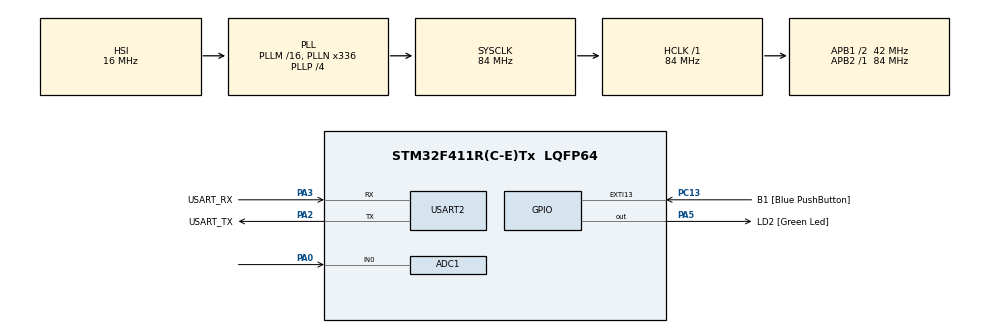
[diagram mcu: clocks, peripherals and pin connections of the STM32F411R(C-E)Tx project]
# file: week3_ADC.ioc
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ADC1.Channel-0\#ChannelRegularConversion=ADC_CHANNEL_TEMPSENSOR
ADC1.NbrOfConversionFlag=1
ADC1.Rank-0\#ChannelRegularConversion=1
ADC1.SamplingTime-0\#ChannelRegularConversion=ADC_SAMPLETIME_3CYCLES
ADC1.master=1
Mcu.Family=STM32F4
Mcu.Name=STM32F411R(C-E)Tx
Mcu.Package=LQFP64
NVIC.PriorityGroup=NVIC_PRIORITYGROUP_0
PA0-WKUP.Signal=ADCx_IN0
PA13.GPIO_Label=TMS
PA13.Mode=Serial_Wire
PA13.Signal=SYS_JTMS-SWDIO
PA14.GPIO_Label=TCK
PA14.Mode=Serial_Wire
PA14.Signal=SYS_JTCK-SWCLK
PA2.GPIO_Label=USART_TX
PA2.Mode=Asynchronous
PA2.Signal=USART2_TX
PA3.GPIO_Label=USART_RX
PA3.Mode=Asynchronous
PA3.Signal=USART2_RX
PA5.GPIO_Label=LD2 [Green Led]
PA5.Signal=GPIO_Output
PB3.GPIO_Label=SWO
PB3.Signal=SYS_JTDO-SWO
PC13-ANTI_TAMP.GPIO_Label=B1 [Blue PushButton]
PC13-ANTI_TAMP.GPIO_ModeDefaultEXTI=GPIO_MODE_IT_FALLING
PC13-ANTI_TAMP.Signal=GPXTI13
PC14-OSC32_IN.Mode=LSE-External-Oscillator
PC14-OSC32_IN.Signal=RCC_OSC32_IN
PC15-OSC32_OUT.Mode=LSE-External-Oscillator
PC15-OSC32_OUT.Signal=RCC_OSC32_OUT
PH0\ -\ OSC_IN.Mode=HSE-External-Clock-Source
PH0\ -\ OSC_IN.Signal=RCC_OSC_IN
PH1\ -\ OSC_OUT.Mode=HSE-External-Clock-Source
PH1\ -\ OSC_OUT.Signal=RCC_OSC_OUT
ProjectManager.HeapSize=0x200
ProjectManager.StackSize=0x400
ProjectManager.TargetToolchain=STM32CubeIDE
RCC.48MHZClocksFreq_Value=84000000
RCC.AHBFreq_Value=84000000
RCC.APB1CLKDivider=RCC_HCLK_DIV2
RCC.APB1Freq_Value=42000000
RCC.APB1TimFreq_Value=84000000
RCC.APB2Freq_Value=84000000
RCC.APB2TimFreq_Value=84000000
RCC.CortexFreq_Value=84000000
RCC.FLatency-AdvancedSettings=FLASH_LATENCY_2
RCC.HCLKFreq_Value=84000000
RCC.HSE_VALUE=8000000
RCC.HSI_VALUE=16000000
RCC.PLLN=336
RCC.PLLP=RCC_PLLP_DIV4
RCC.SYSCLKFreq_VALUE=84000000
RCC.SYSCLKSource=RCC_SYSCLKSOURCE_PLLCLK
RCC.VCOOutputFreq_Value=336000000
SH.ADCx_IN0.0=ADC1_IN0,IN0
USART2.VirtualMode=VM_ASYNC
VP_ADC1_TempSens_Input.Mode=IN-TempSens
board=NUCLEO-F411RE

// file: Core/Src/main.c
/* USER CODE BEGIN Header */
/**
  ******************************************************************************
  * @file           : main.c
  * @brief          : Main program body
  ******************************************************************************
  * @attention
  *
  * <h2><center>&copy; Copyright (c) 2021 STMicroelectronics.
  * All rights reserved.</center></h2>
  *
  * This software component is licensed by ST under BSD 3-Clause license,
  * the "License"; You may not use this file except in compliance with the
  * License. You may obtain a copy of the License at:
  *                        opensource.org/licenses/BSD-3-Clause
  *
  ******************************************************************************
  */
/* USER CODE END Header */
#include "main.h"

ADC_HandleTypeDef hadc1;

UART_HandleTypeDef huart2;

/* USER CODE BEGIN PV */
typedef struct
{
	ADC_ChannelConfTypeDef Config;
	uint32_t Data;

} ADC_struct;

ADC_struct ADC_Channel[2] = {0};
uint8_t ADCMode = 0;
float ADCOutputConverted = 0;
float V25 = 0.76;  //mV/C
float Avg_Slope = 2.5;  //mV/C
/* USER CODE END PV */

void SystemClock_Config(void);
static void MX_GPIO_Init(void);
static void MX_USART2_UART_Init(void);
static void MX_ADC1_Init(void);
/* USER CODE BEGIN PFP */
void ADCPollingInit(); //Init ADC config
void ADCPollingUpdate(); //Read ADC from In1 In0 Temp
/* USER CODE END PFP */

int main(void)
{

  /* MCU Configuration--------------------------------------------------------*/

  /* Reset of all peripherals, Initializes the Flash interface and the Systick. */
  HAL_Init();

  /* Configure the system clock */
  SystemClock_Config();

  /* Initialize all configured peripherals */
  MX_GPIO_Init();
  MX_USART2_UART_Init();
  MX_ADC1_Init();
  /* USER CODE BEGIN 2 */
  ADCPollingInit();
  uint16_t Time_Stamp = 0;
  GPIO_PinState USER_State[2] = {0};
  /* USER CODE END 2 */

  /* Infinite loop */
  while (1)
  {

    /* USER CODE BEGIN 3 */

	  //read USER

	  if (HAL_GetTick() - Time_Stamp >= 100)
	  {
		  USER_State[0] = HAL_GPIO_ReadPin(GPIOC, GPIO_PIN_13);
		  Time_Stamp = HAL_GetTick();
		  if ((USER_State[1] == 0) & (USER_State[0] == 1))
		  {
			 ADCMode = (ADCMode + 1) % 2;
		  }
	  }
	  USER_State[1] = USER_State[0];
	  //read Analog
	  ADCPollingUpdate();

	  if (ADCMode == 0)
	  {
		  ADCOutputConverted = (ADC_Channel[0].Data *3300) /4096.0f;
	  }

	  else if (ADCMode == 1)
	  {
		  ADCOutputConverted = (float)((((ADC_Channel[1].Data *3300)/4096) - V25)/Avg_Slope) + (float)25.00;
	  }
  }
  /* USER CODE END 3 */
}

void SystemClock_Config(void)
{
  RCC_OscInitTypeDef RCC_OscInitStruct = {0};
  RCC_ClkInitTypeDef RCC_ClkInitStruct = {0};

  /** Configure the main internal regulator output voltage
  */
  __HAL_RCC_PWR_CLK_ENABLE();
  __HAL_PWR_VOLTAGESCALING_CONFIG(PWR_REGULATOR_VOLTAGE_SCALE1);
  /** Initializes the RCC Oscillators according to the specified parameters
  * in the RCC_OscInitTypeDef structure.
  */
  RCC_OscInitStruct.OscillatorType = RCC_OSCILLATORTYPE_HSI;
  RCC_OscInitStruct.HSIState = RCC_HSI_ON;
  RCC_OscInitStruct.HSICalibrationValue = RCC_HSICALIBRATION_DEFAULT;
  RCC_OscInitStruct.PLL.PLLState = RCC_PLL_ON;
  RCC_OscInitStruct.PLL.PLLSource = RCC_PLLSOURCE_HSI;
  RCC_OscInitStruct.PLL.PLLM = 16;
  RCC_OscInitStruct.PLL.PLLN = 336;
  RCC_OscInitStruct.PLL.PLLP = RCC_PLLP_DIV4;
  RCC_OscInitStruct.PLL.PLLQ = 4;
  if (HAL_RCC_OscConfig(&RCC_OscInitStruct) != HAL_OK)
  {
    Error_Handler();
  }
  /** Initializes the CPU, AHB and APB buses clocks
  */
  RCC_ClkInitStruct.ClockType = RCC_CLOCKTYPE_HCLK|RCC_CLOCKTYPE_SYSCLK
                              |RCC_CLOCKTYPE_PCLK1|RCC_CLOCKTYPE_PCLK2;
  RCC_ClkInitStruct.SYSCLKSource = RCC_SYSCLKSOURCE_PLLCLK;
  RCC_ClkInitStruct.AHBCLKDivider = RCC_SYSCLK_DIV1;
  RCC_ClkInitStruct.APB1CLKDivider = RCC_HCLK_DIV2;
  RCC_ClkInitStruct.APB2CLKDivider = RCC_HCLK_DIV1;

  if (HAL_RCC_ClockConfig(&RCC_ClkInitStruct, FLASH_LATENCY_2) != HAL_OK)
  {
    Error_Handler();
  }
}

static void MX_ADC1_Init(void)
{

  ADC_ChannelConfTypeDef sConfig = {0};

  /** Configure the global features of the ADC (Clock, Resolution, Data Alignment and number of conversion)
  */
  hadc1.Instance = ADC1;
  hadc1.Init.ClockPrescaler = ADC_CLOCK_SYNC_PCLK_DIV4;
  hadc1.Init.Resolution = ADC_RESOLUTION_12B;
  hadc1.Init.ScanConvMode = DISABLE;
  hadc1.Init.ContinuousConvMode = DISABLE;
  hadc1.Init.DiscontinuousConvMode = DISABLE;
  hadc1.Init.ExternalTrigConvEdge = ADC_EXTERNALTRIGCONVEDGE_NONE;
  hadc1.Init.ExternalTrigConv = ADC_SOFTWARE_START;
  hadc1.Init.DataAlign = ADC_DATAALIGN_RIGHT;
  hadc1.Init.NbrOfConversion = 1;
  hadc1.Init.DMAContinuousRequests = DISABLE;
  hadc1.Init.EOCSelection = ADC_EOC_SINGLE_CONV;
  if (HAL_ADC_Init(&hadc1) != HAL_OK)
  {
    Error_Handler();
  }
  /** Configure for the selected ADC regular channel its corresponding rank in the sequencer and its sample time.
  */
  sConfig.Channel = ADC_CHANNEL_TEMPSENSOR;
  sConfig.Rank = 1;
  sConfig.SamplingTime = ADC_SAMPLETIME_3CYCLES;
  if (HAL_ADC_ConfigChannel(&hadc1, &sConfig) != HAL_OK)
  {
    Error_Handler();
  }

}

static void MX_USART2_UART_Init(void)
{

  huart2.Instance = USART2;
  huart2.Init.BaudRate = 115200;
  huart2.Init.WordLength = UART_WORDLENGTH_8B;
  huart2.Init.StopBits = UART_STOPBITS_1;
  huart2.Init.Parity = UART_PARITY_NONE;
  huart2.Init.Mode = UART_MODE_TX_RX;
  huart2.Init.HwFlowCtl = UART_HWCONTROL_NONE;
  huart2.Init.OverSampling = UART_OVERSAMPLING_16;
  if (HAL_UART_Init(&huart2) != HAL_OK)
  {
    Error_Handler();
  }

}

static void MX_GPIO_Init(void)
{
  GPIO_InitTypeDef GPIO_InitStruct = {0};

  /* GPIO Ports Clock Enable */
  __HAL_RCC_GPIOC_CLK_ENABLE();
  __HAL_RCC_GPIOH_CLK_ENABLE();
  __HAL_RCC_GPIOA_CLK_ENABLE();
  __HAL_RCC_GPIOB_CLK_ENABLE();

  /*Configure GPIO pin Output Level */
  HAL_GPIO_WritePin(LD2_GPIO_Port, LD2_Pin, GPIO_PIN_RESET);

  /*Configure GPIO pin : B1_Pin */
  GPIO_InitStruct.Pin = B1_Pin;
  GPIO_InitStruct.Mode = GPIO_MODE_IT_FALLING;
  GPIO_InitStruct.Pull = GPIO_NOPULL;
  HAL_GPIO_Init(B1_GPIO_Port, &GPIO_InitStruct);

  /*Configure GPIO pin : LD2_Pin */
  GPIO_InitStruct.Pin = LD2_Pin;
  GPIO_InitStruct.Mode = GPIO_MODE_OUTPUT_PP;
  GPIO_InitStruct.Pull = GPIO_NOPULL;
  GPIO_InitStruct.Speed = GPIO_SPEED_FREQ_LOW;
  HAL_GPIO_Init(LD2_GPIO_Port, &GPIO_InitStruct);

}

/* USER CODE BEGIN 4 */
void ADCPollingInit()
{	//PA0
	ADC_Channel[0].Config.Channel = ADC_CHANNEL_0;
	ADC_Channel[0].Config.Rank = 1;
	ADC_Channel[0].Config.SamplingTime = ADC_SAMPLETIME_3CYCLES;

	//Temp
	ADC_Channel[1].Config.Channel = ADC_CHANNEL_TEMPSENSOR;
	ADC_Channel[1].Config.Rank = 1;
	ADC_Channel[1].Config.SamplingTime = ADC_SAMPLETIME_3CYCLES;
}

void ADCPollingUpdate()
{
	for (int i=0; i<3; i++)
	{
		//select channel
		HAL_ADC_ConfigChannel(&hadc1, &ADC_Channel[i].Config);

		//sampling, convert
		HAL_ADC_Start(&hadc1);

		//wait ADC
		if(HAL_ADC_PollForConversion(&hadc1, 10) == HAL_OK)
		{
			//get value
			ADC_Channel[i].Data = HAL_ADC_GetValue(&hadc1);
		}

		//stop
		HAL_ADC_Stop(&hadc1);
	}
}

/* USER CODE END 4 */

void Error_Handler(void)
{
  __disable_irq();
  while (1)
  {
  }
}

/************************ (C) COPYRIGHT STMicroelectronics *****END OF FILE****/
